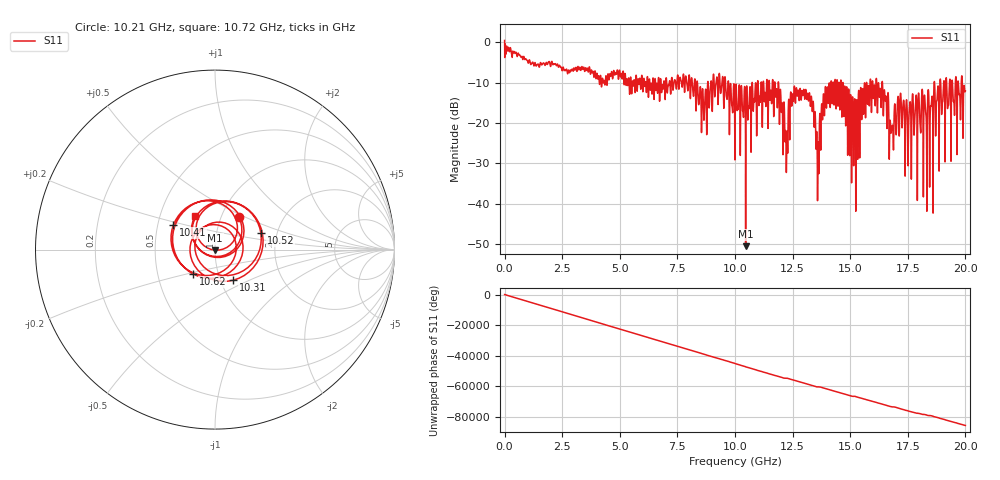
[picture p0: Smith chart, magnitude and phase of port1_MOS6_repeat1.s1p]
! MS46122B
! 2250307/22442219
! 7/22/2025 3:23:37 PM
! C:\USERS\SPARKY\DOCUMENTS\VNA_DATA\JULY22_2025\295\PORT1_MOS6_REPEAT1.S1P
! CHANNEL.1
! TR.MEASUREMENT
! RAW.DATA
# GHZ S RI R 50.0
! FREQ.GHZ  S11RE  S11IM
!; PortSelection: Port_1
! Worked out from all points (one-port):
!   10001 points, 1 MHz to 20 GHz, reference 50 ohm
!   lowest |S11| = -50.5 dB at 10.46 GHz (marker M1), VSWR 1.01, Z = 50 - j0.296 ohm
!   |S11| at or under -10 dB: 11.89 GHz to 14.17 GHz (2.277 GHz wide, 17.5 % of centre); 14.68 GHz to 15.71 GHz (1.024 GHz wide, 6.74 % of centre); 16.4 GHz to 18.64 GHz (2.245 GHz wide, 12.8 % of centre) (the widest 3 of 75)
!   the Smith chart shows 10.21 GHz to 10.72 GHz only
!   S11 on the Smith chart (normalised r, x): 10.21 GHz: 1.21, +0.46; 10.31 GHz: 1.15, -0.41; 10.41 GHz: 0.60, +0.18; 10.52 GHz: 1.65, +0.33; 10.62 GHz: 0.76, -0.21; 10.72 GHz: 0.75, +0.30
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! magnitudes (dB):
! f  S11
! 1 MHz  0.4
! 2.501 GHz  -7.0
! 5.001 GHz  -7.2
! 7.501 GHz  -8.5
! 8.613 GHz  -12.9
! 9.141 GHz  -12.1
! 10 GHz  -24.7
! 10.21 GHz  -12.9
! 10.31 GHz  -14.0
! 10.41 GHz  -11.4
! 10.46 GHz  -50.5
! 10.52 GHz  -11.3
! 10.62 GHz  -14.8
! 10.72 GHz  -13.2
! 11.81 GHz  -11.7
! 12.22 GHz  -29.3
! 12.5 GHz  -12.8
! 13.24 GHz  -12.6
! 13.58 GHz  -37.4
! 14.01 GHz  -11.1
! 15 GHz  -15.0
! 15.24 GHz  -27.1
! 16.05 GHz  -10.8
! 16.57 GHz  -14.5
! 16.79 GHz  -21.8
! 17.13 GHz  -23.2
! 17.5 GHz  -25.9
! 20 GHz  -12.1
